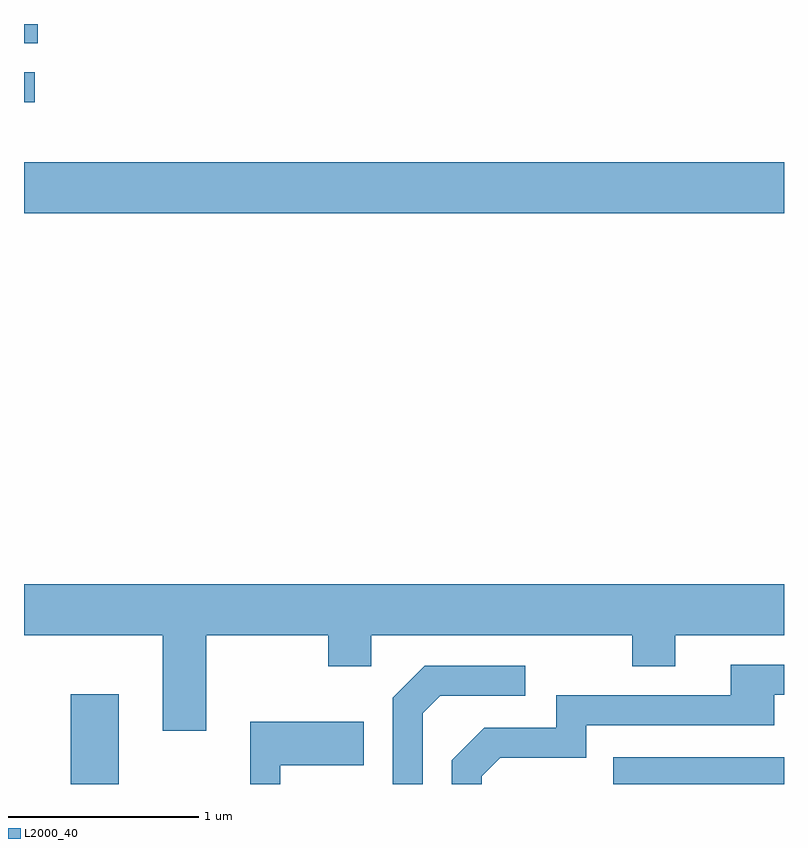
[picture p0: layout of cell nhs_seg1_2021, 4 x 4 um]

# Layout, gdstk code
import gdstk
lib = gdstk.Library(unit=1e-6, precision=1e-09)
def R(c, l, rs):  # rectangles x0, y0, x1, y1
    for r in rs: c.add(gdstk.rectangle(r[:2], r[2:], *l))
def P(c, l, *ps):  # polygons
    for p in ps: c.add(gdstk.Polygon(p, *l))
L2000_40 = (2000, 40)

nhs_seg1_2021 = lib.new_cell('nhs_seg1_2021')
R(nhs_seg1_2021, L2000_40, [(247.856,867.712,248.109,868.184), (250.713,867.712,251.611,867.854), (247.611,870.716,251.611,870.984), (247.611,871.301,247.668,871.459), (247.611,871.611,247.684,871.712)])
P(nhs_seg1_2021, L2000_40, [(248.569,868.496),(249.211,868.496),(249.211,868.331),(249.439,868.331),(249.439,868.496),(250.811,868.496),(250.811,868.331),(251.039,868.331),(251.039,868.496),(251.611,868.496),(251.611,868.764),(247.611,868.764),(247.611,868.496),(248.341,868.496),(248.341,867.991),(248.569,867.991)],
  [(250.019,867.754),(250.117,867.851),(250.569,867.851),(250.569,868.021),(251.559,868.021),(251.559,868.181),(251.611,868.181),(251.611,868.339),(251.331,868.339),(251.331,868.179),(250.411,868.179),(250.411,868.009),(250.034,868.009),(249.861,867.837),(249.861,867.712),(250.019,867.712)],
  [(249.709,868.084),(249.802,868.176),(250.248,868.176),(250.248,868.334),(249.719,868.334),(249.551,868.167),(249.551,867.712),(249.709,867.712)],
  [(248.959,867.811),(249.399,867.811),(249.399,868.039),(248.801,868.039),(248.801,867.712),(248.959,867.712)])

lib.write_gds('nhs_seg1_2021.gds')
